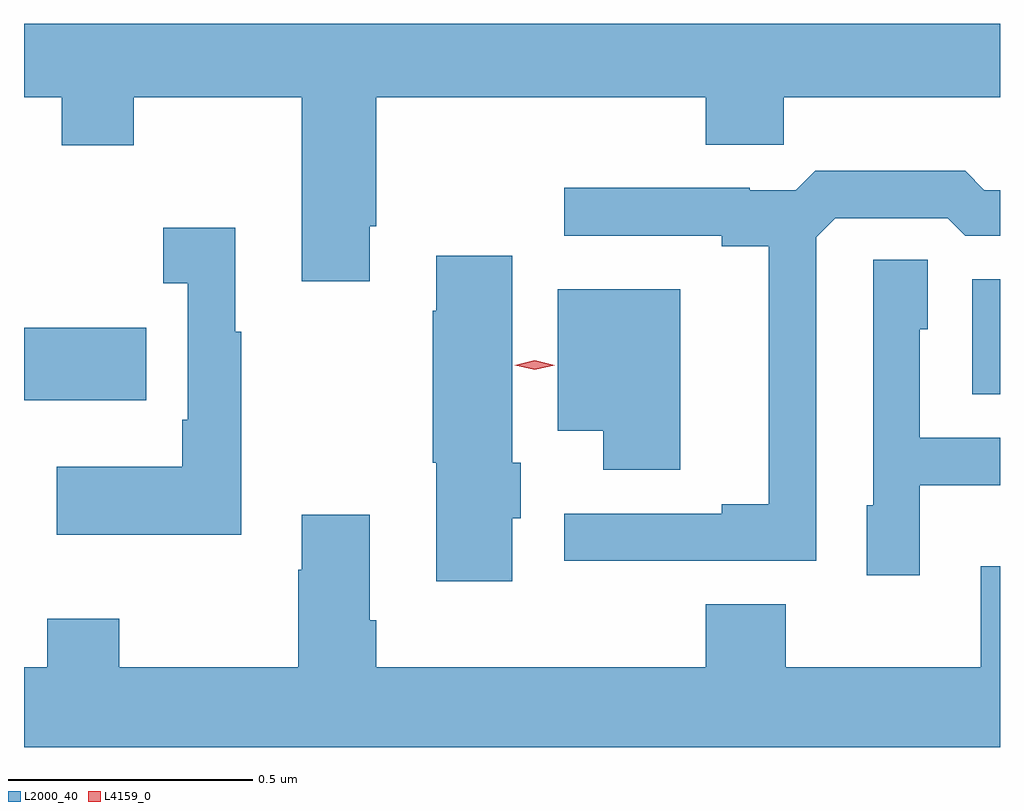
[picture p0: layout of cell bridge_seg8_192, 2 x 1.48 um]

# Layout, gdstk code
import gdstk
lib = gdstk.Library(unit=1e-6, precision=1e-09)
def R(c, l, rs):  # rectangles x0, y0, x1, y1
    for r in rs: c.add(gdstk.rectangle(r[:2], r[2:], *l))
def P(c, l, *ps):  # polygons
    for p in ps: c.add(gdstk.Polygon(p, *l))
L2000_40 = (2000, 40)
L4159_0 = (4159, 0)

bridge_seg8_192 = lib.new_cell('bridge_seg8_192')
R(bridge_seg8_192, L2000_40, [(264.384,1083.911,264.635,1084.059), (266.327,1083.923,266.384,1084.159)])
P(bridge_seg8_192, L2000_40, [(265.093,1084.267),(265.106,1084.267),(265.106,1084.532),(265.781,1084.532),(265.781,1084.434),(265.941,1084.434),(265.941,1084.532),(266.384,1084.532),(266.384,1084.682),(264.384,1084.682),(264.384,1084.532),(264.461,1084.532),(264.461,1084.433),(264.609,1084.433),(264.609,1084.532),(264.953,1084.532),(264.953,1084.155),(265.093,1084.155)],
  [(266.007,1084.245),(266.046,1084.284),(266.277,1084.284),(266.313,1084.248),(266.384,1084.248),(266.384,1084.341),(266.352,1084.341),(266.313,1084.381),(266.005,1084.381),(265.965,1084.341),(265.871,1084.341),(265.871,1084.346),(265.491,1084.346),(265.491,1084.248),(265.814,1084.248),(265.814,1084.226),(265.91,1084.226),(265.91,1083.698),(265.814,1083.698),(265.814,1083.678),(265.491,1083.678),(265.491,1083.582),(266.007,1083.582)],
  [(264.829,1084.051),(264.817,1084.051),(264.817,1084.264),(264.669,1084.264),(264.669,1084.151),(264.72,1084.151),(264.72,1083.871),(264.708,1083.871),(264.708,1083.775),(264.451,1083.775),(264.451,1083.635),(264.829,1083.635)],
  [(265.384,1083.669),(265.402,1083.669),(265.402,1083.783),(265.384,1083.783),(265.384,1084.207),(265.229,1084.207),(265.229,1084.094),(265.222,1084.094),(265.222,1083.783),(265.229,1083.783),(265.229,1083.54),(265.384,1083.54)],
  [(266.22,1083.737),(266.384,1083.737),(266.384,1083.834),(266.22,1083.834),(266.22,1084.056),(266.236,1084.056),(266.236,1084.199),(266.124,1084.199),(266.124,1083.696),(266.111,1083.696),(266.111,1083.552),(266.22,1083.552)],
  [(265.729,1084.138),(265.478,1084.138),(265.478,1083.848),(265.571,1083.848),(265.571,1083.768),(265.729,1083.768)],
  [(266.384,1083.571),(266.345,1083.571),(266.345,1083.364),(265.945,1083.364),(265.945,1083.493),(265.781,1083.493),(265.781,1083.364),(265.106,1083.364),(265.106,1083.46),(265.093,1083.46),(265.093,1083.676),(264.953,1083.676),(264.953,1083.563),(264.946,1083.563),(264.946,1083.364),(264.579,1083.364),(264.579,1083.463),(264.432,1083.463),(264.432,1083.364),(264.384,1083.364),(264.384,1083.2),(266.384,1083.2)])
P(bridge_seg8_192, L4159_0, [(265.431,1083.973),(265.39,1083.983),(265.39,1083.983),(265.39,1083.983),(265.431,1083.993),(265.472,1083.982),(265.472,1083.982),(265.472,1083.982)])

lib.write_gds('bridge_seg8_192.gds')
